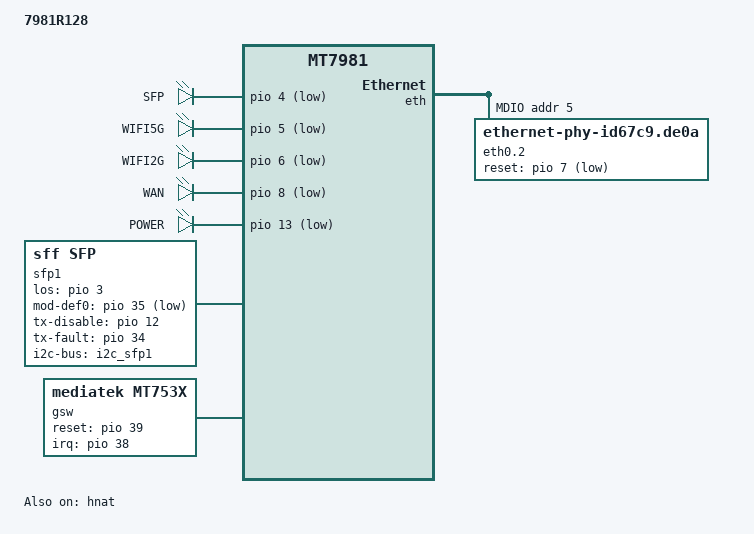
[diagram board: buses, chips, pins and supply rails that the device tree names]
// SPDX-License-Identifier: (GPL-2.0-or-later OR MIT)
/*
 * Copyright Zhaolaibin's SX-7981R128 Update By nanchuci
 */

/dts-v1/;
#include "mt7981-spim-nand-7981rxxx.dtsi"

/ {
	model = "7981R128";
	compatible = "mediatek,mt7981-spim-snand-7981r128-wan-p5-g";

	leds {
		compatible = "gpio-leds";

		SFP: sfp {
			label = "SFP";
			gpios = <&pio 4 GPIO_ACTIVE_LOW>;
			default-state = "off";
		};

		WIFI5G: wifi5g {
			label = "WIFI5G";
			gpios = <&pio 5 GPIO_ACTIVE_LOW>;
			default-state = "off";
		};

		WIFI2G: wifi2g {
			label = "WIFI2G";
			gpios = <&pio 6 GPIO_ACTIVE_LOW>;
			default-state = "off";
		};

		WAN: wan {
			label = "WAN";
			gpios = <&pio 8 GPIO_ACTIVE_LOW>;
			default-state = "off";
		};

		POWER: power {
			label = "POWER";
			gpios = <&pio 13 GPIO_ACTIVE_LOW>;
			default-state = "on";
		};
	};

	sfp1: sfp-lan {
		compatible = "sff,sfp";
		i2c-bus = <&i2c_sfp1>;
		los-gpios = <&pio 3 GPIO_ACTIVE_HIGH>;
		mod-def0-gpios = <&pio 35 GPIO_ACTIVE_LOW>;
		tx-disable-gpios = <&pio 12 GPIO_ACTIVE_HIGH>;
		tx-fault-gpios = <&pio 34 GPIO_ACTIVE_HIGH>;
		maximum-power-milliwatt = <3000>;
	};

	gsw: gsw@0 {
		compatible = "mediatek,mt753x";
		mediatek,ethsys = <&ethsys>;
		#address-cells = <1>;
		#size-cells = <0>;
	};
};

&eth {
	status = "okay";

	gmac0: mac@0 {
		compatible = "mediatek,eth-mac";
		reg = <0>;
		phy-mode = "2500base-x";
		phy-handle = <&phy5>;

		fixed-link {
			speed = <2500>;
			full-duplex;
			pause;
		};
	};

	gmac1: mac@1 {
		compatible = "mediatek,eth-mac";
		reg = <1>;
		phy-mode = "2500base-x";
		managed = "in-band-status";
		sfp = <&sfp1>;
	};

	mdio: mdio-bus {
		#address-cells = <1>;
		#size-cells = <0>;

		phy5: phy@5 {
			/* Intel GPY211 (SLNW8) */
			compatible = "ethernet-phy-id67c9.de0a";
			/* GPY211 Address */
			reg = <5>;
			reset-gpios = <&pio 7 GPIO_ACTIVE_LOW>;
			reset-assert-us = <600>;
			reset-deassert-us = <20000>;
			phy-mode = "2500base-x";
			maxlinear,led-drive-vdd;
			maxlinear,led-reg = <0x3c0 0x330 0x0 0x0>;
			label = "eth0.2";
		};
	};
};

&gsw {
	mediatek,mdio = <&mdio>;
	mediatek,portmap = "wll";
	mediatek,mdio_master_pinmux = <0>;
	reset-gpios = <&pio 39 0>;
	interrupt-parent = <&pio>;
	interrupts = <38 IRQ_TYPE_LEVEL_HIGH>;
	status = "okay";

	port5: port@5 {
		compatible = "mediatek,mt753x-port";
		reg = <5>;
		phy-mode = "sgmii";

		fixed-link {
			speed = <2500>;
			full-duplex;
		};
	};

	/* port6: port@6 {
		compatible = "mediatek,mt753x-port";
		//mediatek,ssc-on;
		reg = <6>;
		phy-mode = "sgmii";

		fixed-link {
			speed = <2500>;
			full-duplex;
		};
	}; */
};

&hnat {
	mtketh-wan = "eth0.2";
	mtketh-ppd = "eth0.1";
	mtketh-lan = "eth0";
	mtketh-max-gmac = <2>;
	ext-devices-prefix = "usb", "wwan", "rmnet";
	status = "okay";
};
